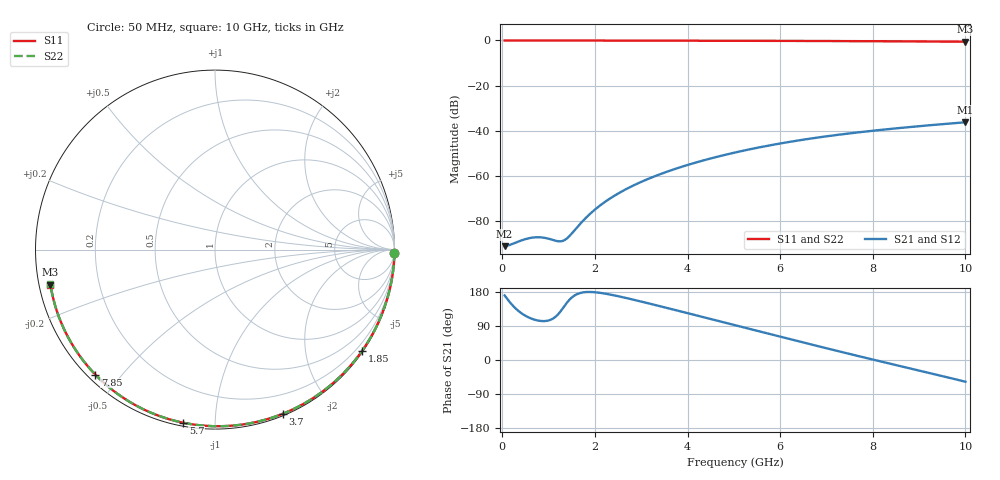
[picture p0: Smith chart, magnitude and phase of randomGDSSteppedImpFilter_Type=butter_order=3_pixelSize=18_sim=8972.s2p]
! freq	dB(S11)	phase(S11)	dB(S12)	phase(S12)
!  dB(S21)	phase(S21)	dB(S22)	phase(S22)
!S-par simulation data
#  GHz  S  DB  R 50
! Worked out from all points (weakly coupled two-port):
!   200 points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, 50 MHz to 10 GHz, reference 50 ohm
!   highest |S21| = -36.20 dB at 10 GHz (marker M1); lowest = -91.0 dB at 50 MHz (marker M2)
!   lowest |S11| = -0.6 dB at 10 GHz (marker M3), VSWR 30.98, Z = 1.63 - j5.25 ohm
!   |S11| at or under -10 dB: nowhere
!   |S22| runs from -0.6 to 0.0 dB; largest |S21 - S12| = 0
!   S11 on the Smith chart (normalised r, x): 50 MHz: open; 1.85 GHz: 0.03, -3.20; 3.7 GHz: 0.02, -1.50; 5.7 GHz: 0.02, -0.83; 7.85 GHz: 0.02, -0.43; 10 GHz: 0.03, -0.11
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0.05  -0.00 -1.0  -90.98 170.3  -90.98 170.3  -0.00 -1.0
0.45  -0.01 -8.6  -88.17 120.4  -88.17 120.4  -0.01 -8.6
0.85  -0.02 -16.1  -87.12 102.8  -87.12 102.8  -0.02 -16.1
1.7  -0.04 -31.9  -80.71 177.4  -80.71 177.4  -0.04 -31.9
1.75  -0.04 -32.8  -79.61 178.5  -79.61 178.5  -0.04 -32.8
1.85  -0.04 -34.7  -77.55 179.5  -77.55 179.5  -0.04 -34.7
2  -0.05 -37.4  -74.80 178.8  -74.80 178.8  -0.05 -37.4
2.15  -0.05 -40.1  -72.39 176.6  -72.39 176.6  -0.05 -40.1
2.5  -0.06 -46.4  -67.72 168.4  -67.72 168.4  -0.06 -46.5
2.9  -0.07 -53.5  -63.47 157.2  -63.47 157.2  -0.07 -53.6
3.4  -0.08 -62.3  -59.21 142.1  -59.21 142.1  -0.08 -62.3
3.7  -0.09 -67.4  -57.03 132.9  -57.03 132.9  -0.09 -67.5
4.35  -0.11 -78.4  -53.01 112.9  -53.01 112.9  -0.11 -78.5
5.05  -0.14 -89.9  -49.45 91.2  -49.45 91.2  -0.14 -90.0
5.7  -0.17 -100.3  -46.69 71.0  -46.69 71.0  -0.17 -100.4
6.2  -0.20 -108.2  -44.87 55.5  -44.87 55.5  -0.20 -108.3
6.7  -0.23 -116.0  -43.27 40.1  -43.27 40.1  -0.23 -116.1
7.25  -0.27 -124.5  -41.73 23.4  -41.73 23.4  -0.27 -124.6
7.85  -0.32 -133.8  -40.27 5.6  -40.27 5.6  -0.32 -133.9
8.35  -0.37 -141.5  -39.19 -9.0  -39.19 -9.0  -0.37 -141.6
9.2  -0.46 -154.9  -37.55 -33.6  -37.55 -33.6  -0.46 -155.0
10  -0.56 -168.0  -36.20 -57.3  -36.20 -57.3  -0.56 -168.1
